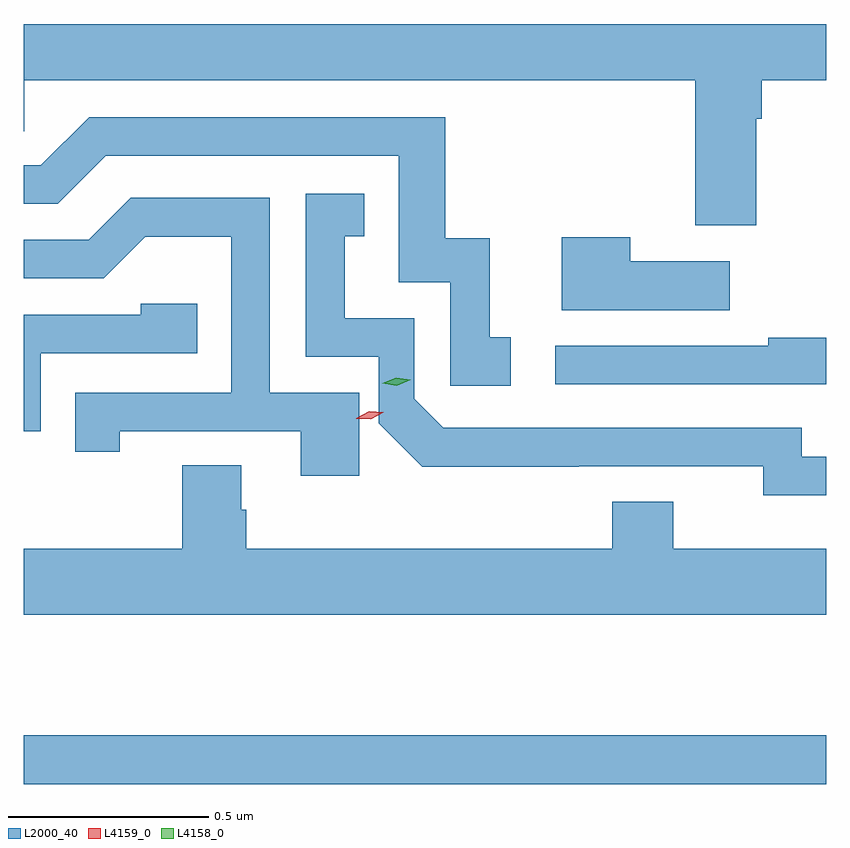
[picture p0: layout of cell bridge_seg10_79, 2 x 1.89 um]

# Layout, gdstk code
import gdstk
lib = gdstk.Library(unit=1e-6, precision=1e-09)
def R(c, l, rs):  # rectangles x0, y0, x1, y1
    for r in rs: c.add(gdstk.rectangle(r[:2], r[2:], *l))
def P(c, l, *ps):  # polygons
    for p in ps: c.add(gdstk.Polygon(p, *l))
L2000_40 = (2000, 40)
L4158_0 = (4158, 0)
L4159_0 = (4159, 0)

bridge_seg10_79 = lib.new_cell('bridge_seg10_79')
R(bridge_seg10_79, L2000_40, [(676.823,1265.262,678.823,1265.383)])
P(bridge_seg10_79, L2000_40, [(678.649,1266.92),(678.662,1266.92),(678.662,1267.016),(678.823,1267.016),(678.823,1267.156),(676.823,1267.156),(676.823,1266.889),(676.824,1266.889),(676.824,1267.016),(678.497,1267.016),(678.497,1266.654),(678.649,1266.654)],
  [(678.037,1266.375),(677.984,1266.375),(677.984,1266.622),(677.873,1266.622),(677.873,1266.924),(676.986,1266.924),(676.866,1266.804),(676.823,1266.804),(676.823,1266.708),(676.908,1266.708),(677.028,1266.828),(677.757,1266.828),(677.757,1266.513),(677.886,1266.513),(677.886,1266.255),(678.037,1266.255)],
  [(678.823,1266.078),(678.762,1266.078),(678.762,1266.15),(677.868,1266.15),(677.796,1266.222),(677.796,1266.423),(677.623,1266.423),(677.623,1266.627),(677.672,1266.627),(677.672,1266.733),(677.526,1266.733),(677.526,1266.327),(677.708,1266.327),(677.708,1266.161),(677.816,1266.053),(678.206,1266.053),(678.206,1266.054),(678.666,1266.054),(678.666,1265.981),(678.823,1265.981)],
  [(677.659,1266.237),(677.436,1266.237),(677.436,1266.723),(677.09,1266.723),(676.985,1266.618),(676.823,1266.618),(676.823,1266.522),(677.022,1266.522),(677.126,1266.626),(677.34,1266.626),(677.34,1266.237),(676.951,1266.237),(676.951,1266.09),(677.062,1266.09),(677.062,1266.141),(677.513,1266.141),(677.513,1266.03),(677.659,1266.03)],
  [(678.583,1266.565),(678.335,1266.565),(678.335,1266.625),(678.164,1266.625),(678.164,1266.443),(678.583,1266.443)],
  [(676.866,1266.336),(677.255,1266.336),(677.255,1266.459),(677.115,1266.459),(677.115,1266.432),(676.823,1266.432),(676.823,1266.141),(676.866,1266.141)],
  [(678.823,1266.374),(678.679,1266.374),(678.679,1266.354),(678.147,1266.354),(678.147,1266.258),(678.823,1266.258)],
  [(678.823,1265.848),(678.442,1265.848),(678.442,1265.965),(678.29,1265.965),(678.29,1265.848),(677.378,1265.848),(677.378,1265.946),(677.365,1265.946),(677.365,1266.056),(677.218,1266.056),(677.218,1265.848),(676.823,1265.848),(676.823,1265.684),(678.823,1265.684)])
P(bridge_seg10_79, L4158_0, [(677.753,1266.255),(677.716,1266.261),(677.716,1266.261),(677.716,1266.261),(677.751,1266.275),(677.788,1266.269),(677.788,1266.269),(677.788,1266.269)])
P(bridge_seg10_79, L4159_0, [(677.688,1266.171),(677.652,1266.172),(677.652,1266.172),(677.652,1266.173),(677.684,1266.191),(677.72,1266.189),(677.72,1266.189),(677.72,1266.189)])

lib.write_gds('bridge_seg10_79.gds')
